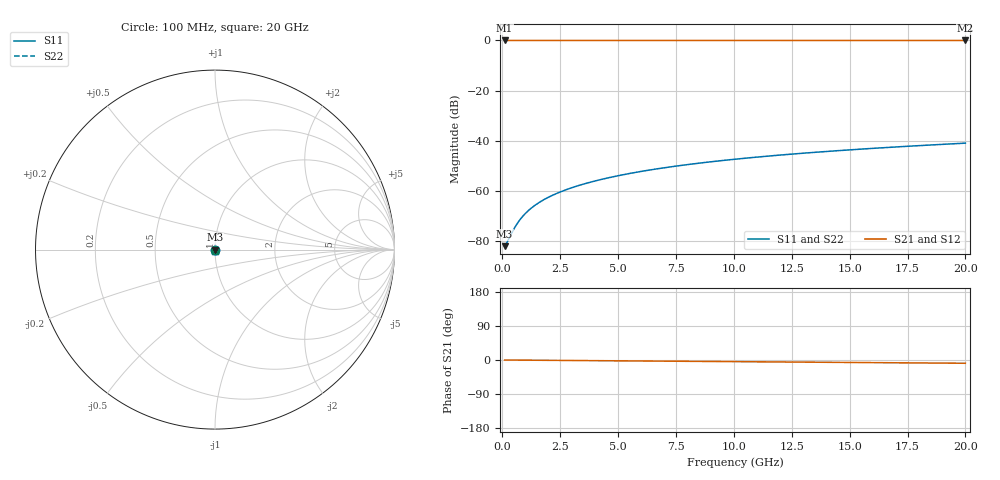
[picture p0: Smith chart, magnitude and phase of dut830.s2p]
! Touchstone file exported from HFSS 2026.1.0
!  File:  C:/ffzhzh/LocalFiles/Ansys_Project_Files/temp_train_TSV_830_1783184717_18472.aedt
!  Generated:  01:06:33 AM Jul  5, 2026
!  Design:  TSV
!  Project:  temp_train_TSV_830_1783184717_18472
! Variables:
!  h_bsmrdl = 2um
!  h_ox = 20um
!  h_rdl = 5um
!  h_sub = 85.57um
!  h_tmrdl = 5um
!  h_tsv = 85.57um
!  h_via = 3um
!  l_bsmrdl = 300um
!  l_sub = 428.54um
!  l_tmrdl = 200um
!  m_sub = 200um
!  pitch = 53.66um
!  r_tsv = 14.27um
!  s_tmrdl = 10um
!  w_bsmrdl = 18um
!  w_sub = 500um
!  w_tmrdl = 12um
!  x_tsv_center1 = 206um
!  x_tsv_center2 = 524um
!  x_tsv_center3 = 736um
!  x_tsv_center4 = 1054um
!  x_tsv_center5 = 1266um
!  x_tsv_center6 = 1584um
# GHz S MA R 50.000000
! Terminal data exported
! Port[1] = TSV1_1_T1
! Port[2] = TSV1_1_T2
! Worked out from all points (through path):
!   200 points, 100 MHz to 20 GHz, reference 50 ohm
!   highest |S21| = 0.00 dB at 100 MHz (marker M1); lowest = 0.0 dB at 20 GHz (marker M2)
!   group delay of S21, straight-line fit = 1.2 ps
!   lowest |S11| = -82.0 dB at 100 MHz (marker M3), VSWR 1.00, Z = 50 - j0.000122 ohm
!   |S11| at or under -10 dB: start of sweep to end of sweep
!   |S22| runs from -82.0 to -40.9 dB; largest |S21 - S12| = 2e-15
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0.1  7.972e-05 -0.9  0.9999 -0.0  0.9999 -0.0  7.972e-05 -0.9
! Gamma 0 0 0 0
! Port Impedance 50 0 50 0
0.2  9.429e-05 -3.9  0.9999 -0.1  0.9999 -0.1  9.429e-05 -3.9
0.3  0.0001163 -9.0  0.9999 -0.1  0.9999 -0.1  0.0001163 -9.0
0.5  0.0001751 -21.3  0.9998 -0.2  0.9998 -0.2  0.0001751 -21.3
0.6  0.0002092 -27.0  0.9998 -0.3  0.9998 -0.3  0.0002092 -27.0
0.7  0.0002451 -32.2  0.9998 -0.3  0.9998 -0.3  0.0002451 -32.2
0.9  0.0003202 -40.8  0.9998 -0.4  0.9998 -0.4  0.0003202 -40.8
1.1  0.0003975 -47.4  0.9997 -0.5  0.9997 -0.5  0.0003975 -47.4
1.4  0.0005155 -54.6  0.9997 -0.6  0.9997 -0.6  0.0005154 -54.6
1.8  0.0006746 -61.0  0.9997 -0.8  0.9997 -0.8  0.0006746 -61.0
2.3  0.000876 -66.1  0.9996 -1.0  0.9996 -1.0  0.000876 -66.1
2.9  0.001122 -70.1  0.9996 -1.3  0.9996 -1.3  0.001122 -70.1
3.5  0.001372 -72.8  0.9996 -1.5  0.9996 -1.5  0.001372 -72.8
4.2  0.001671 -75.1  0.9995 -1.8  0.9995 -1.8  0.001671 -75.1
5  0.002019 -77.0  0.9995 -2.2  0.9995 -2.2  0.002019 -77.0
5.9  0.002417 -78.8  0.9994 -2.6  0.9994 -2.6  0.002417 -78.8
6.8  0.002821 -80.2  0.9994 -2.9  0.9994 -2.9  0.002821 -80.3
8.3  0.003503 -82.3  0.9993 -3.6  0.9993 -3.6  0.003503 -82.3
10.1  0.00433 -84.3  0.9992 -4.4  0.9992 -4.4  0.00433 -84.3
13.4  0.005863 -87.3  0.9991 -5.8  0.9991 -5.8  0.005863 -87.3
16.7  0.007416 -89.7  0.999 -7.2  0.999 -7.2  0.007415 -89.7
20  0.008994 -91.8  0.9989 -8.6  0.9989 -8.6  0.008994 -91.8
